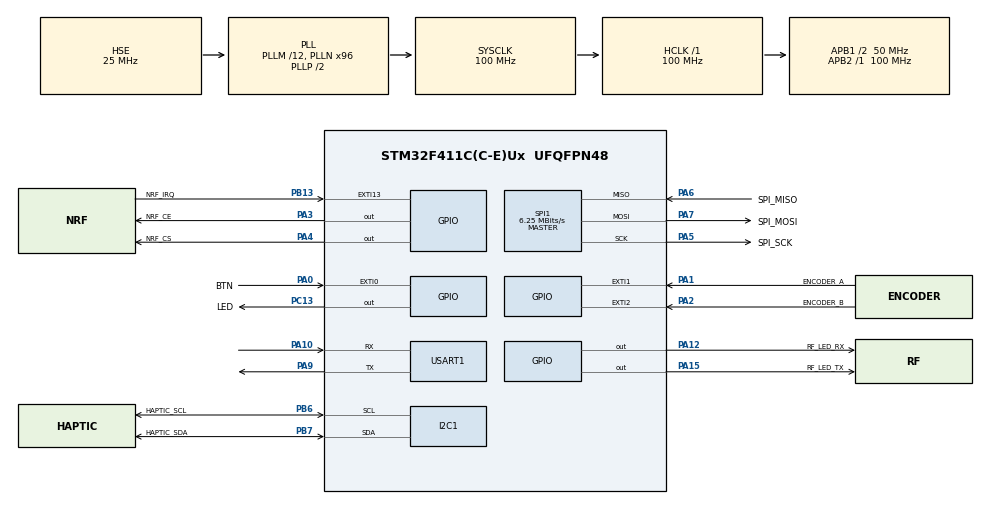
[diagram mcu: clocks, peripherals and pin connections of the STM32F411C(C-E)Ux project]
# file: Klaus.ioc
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Mcu.Family=STM32F4
Mcu.Name=STM32F411C(C-E)Ux
Mcu.Package=UFQFPN48
NVIC.EXTI0_IRQn=true\:0\:0\:false\:false\:true\:true\:true\:true
NVIC.EXTI15_10_IRQn=true\:0\:0\:false\:false\:true\:true\:true\:true
NVIC.EXTI1_IRQn=true\:0\:0\:false\:false\:true\:true\:true\:true
NVIC.EXTI2_IRQn=true\:0\:0\:false\:false\:true\:true\:true\:true
NVIC.PriorityGroup=NVIC_PRIORITYGROUP_4
PA0-WKUP.GPIO_Label=BTN
PA0-WKUP.GPIO_PuPd=GPIO_PULLUP
PA0-WKUP.Signal=GPXTI0
PA1.GPIO_Label=ENCODER_A
PA1.GPIO_PuPd=GPIO_PULLUP
PA1.Signal=GPXTI1
PA10.Mode=Asynchronous
PA10.Signal=USART1_RX
PA12.GPIO_Label=RF_LED_RX
PA12.Signal=GPIO_Output
PA15.GPIO_Label=RF_LED_TX
PA15.Signal=GPIO_Output
PA2.GPIO_Label=ENCODER_B
PA2.GPIO_PuPd=GPIO_PULLUP
PA2.Signal=GPXTI2
PA3.GPIO_Label=NRF_CE
PA3.Signal=GPIO_Output
PA4.GPIO_Label=NRF_CS
PA4.GPIO_ModeDefaultOutputPP=GPIO_MODE_OUTPUT_PP
PA4.GPIO_PuPd=GPIO_NOPULL
PA4.Signal=GPIO_Output
PA5.GPIO_Label=SPI_SCK
PA5.Mode=Full_Duplex_Master
PA5.Signal=SPI1_SCK
PA6.GPIO_Label=SPI_MISO
PA6.Mode=Full_Duplex_Master
PA6.Signal=SPI1_MISO
PA7.GPIO_Label=SPI_MOSI
PA7.Mode=Full_Duplex_Master
PA7.Signal=SPI1_MOSI
PA9.Mode=Asynchronous
PA9.Signal=USART1_TX
PB13.GPIO_Label=NRF_IRQ
PB13.GPIO_ModeDefaultEXTI=GPIO_MODE_IT_FALLING
PB13.GPIO_PuPd=GPIO_NOPULL
PB13.Signal=GPXTI13
PB6.GPIO_Label=HAPTIC_SCL
PB6.Mode=I2C
PB6.Signal=I2C1_SCL
PB7.GPIO_Label=HAPTIC_SDA
PB7.Mode=I2C
PB7.Signal=I2C1_SDA
PC13-ANTI_TAMP.GPIO_Label=LED
PC13-ANTI_TAMP.GPIO_ModeDefaultOutputPP=GPIO_MODE_OUTPUT_OD
PC13-ANTI_TAMP.GPIO_PuPd=GPIO_PULLUP
PC13-ANTI_TAMP.Signal=GPIO_Output
PH0\ -\ OSC_IN.Mode=HSE-External-Oscillator
PH0\ -\ OSC_IN.Signal=RCC_OSC_IN
PH1\ -\ OSC_OUT.Mode=HSE-External-Oscillator
PH1\ -\ OSC_OUT.Signal=RCC_OSC_OUT
ProjectManager.HeapSize=0x200
ProjectManager.StackSize=0x400
ProjectManager.TargetToolchain=STM32CubeIDE
RCC.48MHZClocksFreq_Value=50000000
RCC.AHBFreq_Value=100000000
RCC.APB1CLKDivider=RCC_HCLK_DIV2
RCC.APB1Freq_Value=50000000
RCC.APB1TimFreq_Value=100000000
RCC.APB2Freq_Value=100000000
RCC.APB2TimFreq_Value=100000000
RCC.CortexFreq_Value=100000000
RCC.HCLKFreq_Value=100000000
RCC.HSE_VALUE=25000000
RCC.HSI_VALUE=16000000
RCC.LSE_VALUE=32768
RCC.PLLM=12
RCC.PLLN=96
RCC.PLLSourceVirtual=RCC_PLLSOURCE_HSE
RCC.SYSCLKFreq_VALUE=100000000
RCC.SYSCLKSource=RCC_SYSCLKSOURCE_PLLCLK
RCC.VCOOutputFreq_Value=200000000
SPI1.BaudRatePrescaler=SPI_BAUDRATEPRESCALER_16
SPI1.CalculateBaudRate=6.25 MBits/s
SPI1.Direction=SPI_DIRECTION_2LINES
SPI1.Mode=SPI_MODE_MASTER
SPI1.VirtualType=VM_MASTER
TIM3.Prescaler=100 - 1
TIM5.Prescaler=10000 - 1
USART1.VirtualMode=VM_ASYNC
VP_TIM3_VS_ClockSourceINT.Mode=Internal
VP_TIM5_VS_ClockSourceINT.Mode=Internal
board=custom

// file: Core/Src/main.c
/* USER CODE BEGIN Header */
/**
  ******************************************************************************
  * @file           : main.c
  * @brief          : Main program body
  ******************************************************************************
  * @attention
  *
  * Copyright (c) 2026 STMicroelectronics.
  * All rights reserved.
  *
  * This software is licensed under terms that can be found in the LICENSE file
  * in the root directory of this software component.
  * If no LICENSE file comes with this software, it is provided AS-IS.
  *
  ******************************************************************************
  */
/* USER CODE END Header */
#include "main.h"

/* USER CODE BEGIN Includes */
#include "drv2605l.h"
#include "nrf24l01.h"
#include "metronome.h"

/* USER CODE END Includes */

/* USER CODE BEGIN PD */

#define RF_CHANNEL 92
#define DRV2605L_WAVEFORM_USE 4

/* USER CODE END PD */

I2C_HandleTypeDef hi2c1;

SPI_HandleTypeDef hspi1;

TIM_HandleTypeDef htim3;
TIM_HandleTypeDef htim5;

UART_HandleTypeDef huart1;

void SystemClock_Config(void);
static void MX_GPIO_Init(void);
static void MX_I2C1_Init(void);
static void MX_USART1_UART_Init(void);
static void MX_SPI1_Init(void);
static void MX_TIM3_Init(void);
static void MX_TIM5_Init(void);

/* USER CODE BEGIN 0 */

// Redirect printf through UART
int _write(int fd, char* ptr, int len) {
	HAL_StatusTypeDef hstatus;

	if (fd == 1 || fd == 2) {
	  hstatus = HAL_UART_Transmit(&huart1, (uint8_t *) ptr, len, HAL_MAX_DELAY);
	  if (hstatus == HAL_OK)
		return len;
	  else
		return -1;
	}
	return -1;
}

uint8_t encoder_last_state = 0;
uint8_t encoder_state = 0;
volatile uint8_t encoder_change = 2;

// Arrays to differentiate between "noise" and a real, encoder direction
uint8_t encoder_clockwise_dict[4] = {
		2, 0, 3, 1
};
uint8_t encoder_counterclockwise_dict[4] = {
		1, 3, 0, 2
};

volatile uint8_t nrf_irq_pending = 0;
volatile uint8_t btn_pressed = 0;

void HAL_GPIO_EXTI_Callback(uint16_t GPIO_Pin) {
	if (GPIO_Pin == ENCODER_A_Pin || GPIO_Pin == ENCODER_B_Pin) {
		encoder_change = 1;
	}
	else if (GPIO_Pin == NRF_IRQ_Pin) {
		nrf_irq_pending = 1;
	}
	else if (GPIO_Pin == BTN_Pin) {
		btn_pressed = 1;
	}
}

// 6-byte array used for transmitting RF synchronization packets
uint8_t rf_buff[6] = {
		// 1 = BPM, MSB
		// 2 = BPM, LSB
		// 3 = Master timestamp, MSB
		// 6 = Master timestamp, LSB
};

// RF CALLBACKS
uint8_t packet_received = 0;
void rx_callback(uint8_t *data, uint16_t length) {
	if (length == (sizeof(rf_buff) / sizeof(rf_buff[0]))) {
		for (int i = 0; i < length; i ++) {
			rf_buff[i] = data[i];
		}
		packet_received = 1;
	}
	else {
		MAIN_DBG("Received data of unexpected length.\r\n");
		Error_Handler();
	}
}

uint8_t packet_sent = 0;
void tx_callback() {
	packet_sent = 1;
}

// Handles to interact with drivers / custom libraries
drv2605l_handle_t haptic_driver;
nrf24l01_handle_t rf_handle;
metronome_t metronome;

// METRONOME CALLBACK
void pulse_callback(uint16_t tempo, uint32_t timestamp) {
	if (rf_handle.mode != NRF24L01_RX) {
		HAL_GPIO_TogglePin(LED_GPIO_Port, LED_Pin);
	}

	drv2605l_play(&haptic_driver, DRV2605L_WAVEFORM_USE);

	if (rf_handle.mode == NRF24L01_TX) {
		rf_buff[0] = tempo >> 8;
		rf_buff[1] = tempo & 0xFF;
		rf_buff[2] = timestamp >> 24;
		rf_buff[3]= (timestamp >> 16) & 0xFF;
		rf_buff[4]= (timestamp >> 8) & 0xFF;
		rf_buff[5]= timestamp & 0xFF;

		nrf24l01_result_t nrf24l01_result = nrf24l01_transmit(&rf_handle, rf_buff, 6);
		if (nrf24l01_result != NRF24L01_OK) {
			MAIN_DBG("Error when transmitting\r\n");
		}
	}
}

/* USER CODE END 0 */

int main(void)
{

  /* MCU Configuration--------------------------------------------------------*/

  /* Reset of all peripherals, Initializes the Flash interface and the Systick. */
  HAL_Init();

  /* Configure the system clock */
  SystemClock_Config();

  /* Initialize all configured peripherals */
  MX_GPIO_Init();
  MX_I2C1_Init();
  MX_USART1_UART_Init();
  MX_SPI1_Init();
  MX_TIM3_Init();
  MX_TIM5_Init();

  /* USER CODE BEGIN 2 */

  MAIN_DBG("\r\nWorking!\r\n");

  // -------------- DRV2605L setup -------------- //

  drv2605l_init(&haptic_driver, &hi2c1);

  // -------------- NRF24L01+ setup -------------- //

  micro_delay_handle_t micro_timer;
  HAL_TIM_Base_Start(&htim3);
  micro_delay_init(&micro_timer, &htim3);
  uint8_t channel = RF_CHANNEL;
  nrf24l01_datarate_t data_rate = NRF24L01_DR_250KBPS;
  nrf24l01_power_t power = NRF24L01_PWR_0DBM;
  uint8_t pipe_address[5] = {0x55,0x4E,0x55,0x4E,0x55,};
  nrf24l01_result_t nrf24l01_result;
  nrf24l01_result = nrf24l01_init(&rf_handle, &hspi1, &micro_timer, NRF_CS_GPIO_Port, NRF_CS_Pin, NRF_CE_GPIO_Port, NRF_CE_Pin, channel, data_rate, power, pipe_address);
  if (nrf24l01_result != NRF24L01_OK) {
	  MAIN_DBG("Error when initializing nrf24l01\r\n");
	  Error_Handler();
  }
  else {
	  MAIN_DBG("Initialized RF right!\r\n");
  }

  rf_handle.rx_callback = rx_callback;
  rf_handle.tx_callback = tx_callback;

  // -------------- Metronome setup -------------- //

  HAL_TIM_Base_Start_IT(&htim5);
  metronome_init(&metronome, &htim5);
  metronome.pulse_callback = pulse_callback;

  /* USER CODE END 2 */

  /* Infinite loop */
  /* USER CODE BEGIN WHILE */

  while (1)
  {
	  //---------------------------- ENCODER CODE ------------------------------//
	  if (encoder_change == 2) { // First time initializing encoder variables
		  encoder_change = 0;
		  encoder_state = (HAL_GPIO_ReadPin(ENCODER_A_GPIO_Port, ENCODER_A_Pin) << 1) | HAL_GPIO_ReadPin(ENCODER_B_GPIO_Port, ENCODER_B_Pin);
		  encoder_last_state = encoder_state;
	  }

	  if (encoder_change) {
		  if (rf_handle.mode != NRF24L01_RX) { // Ensure not in RX mode
			  encoder_state = (HAL_GPIO_ReadPin(ENCODER_A_GPIO_Port, ENCODER_A_Pin) << 1) | HAL_GPIO_ReadPin(ENCODER_B_GPIO_Port, ENCODER_B_Pin);
			  metronome_direction_t direction;
			  if (encoder_clockwise_dict[encoder_last_state] == encoder_state) {
				  // Clockwise
				  direction = METRONOME_FORWARD;
			  }
			  else if (encoder_counterclockwise_dict[encoder_last_state] == encoder_state) {
				  // Counterclockwise
				  direction = METRONOME_BACKWARD;
			  }
			  else {
				  // Noise
				  direction = METRONOME_NONE;
			  }

			  if (encoder_state == 0) { // Encoder has detents. Check for completed detent
				  metronome_change_tempo(&metronome, direction);
			  }

			  encoder_last_state = encoder_state;
		  }
		  encoder_change = 0;
	  }

	  //---------------------------- nRF24L01+ CODE ------------------------------//

	  if (nrf_irq_pending) {
		  nrf_irq_pending = 0;
		  nrf24l01_result = nrf24l01_handle_irqs(&rf_handle);
		  if (nrf24l01_result != NRF24L01_OK) {
			  Error_Handler();
		  }
	  }

	  if (btn_pressed) {
		  // Reset the offset and re-initialize timestamps for smoother mode change
		  metronome_reset_rf(&metronome);
		  switch (rf_handle.mode) {
		  case NRF24L01_RX: // Entering standby mode
			  nrf24l01_result = nrf24l01_enter_standby(&rf_handle);
			  if (nrf24l01_result != NRF24L01_OK) {
				  MAIN_DBG("Error when entering off\r\n");
			  }
			  HAL_GPIO_WritePin(RF_LED_TX_GPIO_Port, RF_LED_TX_Pin, GPIO_PIN_RESET);
			  HAL_GPIO_WritePin(RF_LED_RX_GPIO_Port, RF_LED_RX_Pin, GPIO_PIN_RESET);
			  break;
		  case NRF24L01_Standby: // Entering TX mode
			  nrf24l01_result = nrf24l01_enter_tx(&rf_handle);
			  if (nrf24l01_result != NRF24L01_OK) {
				  MAIN_DBG("Error when entering TX\r\n");
			  }
			  HAL_GPIO_WritePin(RF_LED_TX_GPIO_Port, RF_LED_TX_Pin, GPIO_PIN_SET);
			  HAL_GPIO_WritePin(RF_LED_RX_GPIO_Port, RF_LED_RX_Pin, GPIO_PIN_RESET);
			  break;
		  case NRF24L01_TX: // Entering RX mode
			  nrf24l01_result = nrf24l01_enter_rx(&rf_handle);
			  if (nrf24l01_result != NRF24L01_OK) {
				  MAIN_DBG("Error when entering RX\r\n");
			  }
			  HAL_GPIO_WritePin(RF_LED_RX_GPIO_Port, RF_LED_RX_Pin, GPIO_PIN_SET);
			  HAL_GPIO_WritePin(RF_LED_TX_GPIO_Port, RF_LED_TX_Pin, GPIO_PIN_RESET);
			  break;
		  default:
			  MAIN_DBG("Invalid button mode\r\n");
			  Error_Handler();
		  }

		  // Debounce to avoid button press registering as multiple mode changes
		  HAL_Delay(10);
		  btn_pressed = 0;
	  }

	  //---------------------------- METRONOME CODE ------------------------------//

	  metronome_update(&metronome);

	  if (packet_received) {
		  packet_received = 0;
		  HAL_GPIO_TogglePin(LED_GPIO_Port, LED_Pin);

		  uint16_t tempo = rf_buff[0] << 8 | rf_buff[1];
		  uint32_t master_timestamp = rf_buff[2] << 24 | rf_buff[3] << 16 | rf_buff[4] << 8 | rf_buff[5];

		  metronome_process_rf(&metronome, tempo, master_timestamp);
	  }

	  if (packet_sent) {
		  MAIN_DBG("Successfully sent data\r\n");
		  packet_sent = 0;
	  }

    /* USER CODE END WHILE */

  }
}

void SystemClock_Config(void)
{
  RCC_OscInitTypeDef RCC_OscInitStruct = {0};
  RCC_ClkInitTypeDef RCC_ClkInitStruct = {0};

  /** Configure the main internal regulator output voltage
  */
  __HAL_RCC_PWR_CLK_ENABLE();
  __HAL_PWR_VOLTAGESCALING_CONFIG(PWR_REGULATOR_VOLTAGE_SCALE1);

  /** Initializes the RCC Oscillators according to the specified parameters
  * in the RCC_OscInitTypeDef structure.
  */
  RCC_OscInitStruct.OscillatorType = RCC_OSCILLATORTYPE_HSE;
  RCC_OscInitStruct.HSEState = RCC_HSE_ON;
  RCC_OscInitStruct.PLL.PLLState = RCC_PLL_ON;
  RCC_OscInitStruct.PLL.PLLSource = RCC_PLLSOURCE_HSE;
  RCC_OscInitStruct.PLL.PLLM = 12;
  RCC_OscInitStruct.PLL.PLLN = 96;
  RCC_OscInitStruct.PLL.PLLP = RCC_PLLP_DIV2;
  RCC_OscInitStruct.PLL.PLLQ = 4;
  if (HAL_RCC_OscConfig(&RCC_OscInitStruct) != HAL_OK)
  {
    Error_Handler();
  }

  /** Initializes the CPU, AHB and APB buses clocks
  */
  RCC_ClkInitStruct.ClockType = RCC_CLOCKTYPE_HCLK|RCC_CLOCKTYPE_SYSCLK
                              |RCC_CLOCKTYPE_PCLK1|RCC_CLOCKTYPE_PCLK2;
  RCC_ClkInitStruct.SYSCLKSource = RCC_SYSCLKSOURCE_PLLCLK;
  RCC_ClkInitStruct.AHBCLKDivider = RCC_SYSCLK_DIV1;
  RCC_ClkInitStruct.APB1CLKDivider = RCC_HCLK_DIV2;
  RCC_ClkInitStruct.APB2CLKDivider = RCC_HCLK_DIV1;

  if (HAL_RCC_ClockConfig(&RCC_ClkInitStruct, FLASH_LATENCY_3) != HAL_OK)
  {
    Error_Handler();
  }
}

static void MX_I2C1_Init(void)
{

  hi2c1.Instance = I2C1;
  hi2c1.Init.ClockSpeed = 100000;
  hi2c1.Init.DutyCycle = I2C_DUTYCYCLE_2;
  hi2c1.Init.OwnAddress1 = 0;
  hi2c1.Init.AddressingMode = I2C_ADDRESSINGMODE_7BIT;
  hi2c1.Init.DualAddressMode = I2C_DUALADDRESS_DISABLE;
  hi2c1.Init.OwnAddress2 = 0;
  hi2c1.Init.GeneralCallMode = I2C_GENERALCALL_DISABLE;
  hi2c1.Init.NoStretchMode = I2C_NOSTRETCH_DISABLE;
  if (HAL_I2C_Init(&hi2c1) != HAL_OK)
  {
    Error_Handler();
  }

}

static void MX_SPI1_Init(void)
{

  /* SPI1 parameter configuration*/
  hspi1.Instance = SPI1;
  hspi1.Init.Mode = SPI_MODE_MASTER;
  hspi1.Init.Direction = SPI_DIRECTION_2LINES;
  hspi1.Init.DataSize = SPI_DATASIZE_8BIT;
  hspi1.Init.CLKPolarity = SPI_POLARITY_LOW;
  hspi1.Init.CLKPhase = SPI_PHASE_1EDGE;
  hspi1.Init.NSS = SPI_NSS_SOFT;
  hspi1.Init.BaudRatePrescaler = SPI_BAUDRATEPRESCALER_16;
  hspi1.Init.FirstBit = SPI_FIRSTBIT_MSB;
  hspi1.Init.TIMode = SPI_TIMODE_DISABLE;
  hspi1.Init.CRCCalculation = SPI_CRCCALCULATION_DISABLE;
  hspi1.Init.CRCPolynomial = 10;
  if (HAL_SPI_Init(&hspi1) != HAL_OK)
  {
    Error_Handler();
  }

}

static void MX_TIM3_Init(void)
{

  TIM_ClockConfigTypeDef sClockSourceConfig = {0};
  TIM_MasterConfigTypeDef sMasterConfig = {0};

  htim3.Instance = TIM3;
  htim3.Init.Prescaler = 100 - 1;
  htim3.Init.CounterMode = TIM_COUNTERMODE_UP;
  htim3.Init.Period = 65535;
  htim3.Init.ClockDivision = TIM_CLOCKDIVISION_DIV1;
  htim3.Init.AutoReloadPreload = TIM_AUTORELOAD_PRELOAD_DISABLE;
  if (HAL_TIM_Base_Init(&htim3) != HAL_OK)
  {
    Error_Handler();
  }
  sClockSourceConfig.ClockSource = TIM_CLOCKSOURCE_INTERNAL;
  if (HAL_TIM_ConfigClockSource(&htim3, &sClockSourceConfig) != HAL_OK)
  {
    Error_Handler();
  }
  sMasterConfig.MasterOutputTrigger = TIM_TRGO_RESET;
  sMasterConfig.MasterSlaveMode = TIM_MASTERSLAVEMODE_DISABLE;
  if (HAL_TIMEx_MasterConfigSynchronization(&htim3, &sMasterConfig) != HAL_OK)
  {
    Error_Handler();
  }

}

static void MX_TIM5_Init(void)
{

  TIM_ClockConfigTypeDef sClockSourceConfig = {0};
  TIM_MasterConfigTypeDef sMasterConfig = {0};

  htim5.Instance = TIM5;
  htim5.Init.Prescaler = 10000 - 1;
  htim5.Init.CounterMode = TIM_COUNTERMODE_UP;
  htim5.Init.Period = 4294967295;
  htim5.Init.ClockDivision = TIM_CLOCKDIVISION_DIV1;
  htim5.Init.AutoReloadPreload = TIM_AUTORELOAD_PRELOAD_DISABLE;
  if (HAL_TIM_Base_Init(&htim5) != HAL_OK)
  {
    Error_Handler();
  }
  sClockSourceConfig.ClockSource = TIM_CLOCKSOURCE_INTERNAL;
  if (HAL_TIM_ConfigClockSource(&htim5, &sClockSourceConfig) != HAL_OK)
  {
    Error_Handler();
  }
  sMasterConfig.MasterOutputTrigger = TIM_TRGO_RESET;
  sMasterConfig.MasterSlaveMode = TIM_MASTERSLAVEMODE_DISABLE;
  if (HAL_TIMEx_MasterConfigSynchronization(&htim5, &sMasterConfig) != HAL_OK)
  {
    Error_Handler();
  }

}

static void MX_USART1_UART_Init(void)
{

  huart1.Instance = USART1;
  huart1.Init.BaudRate = 115200;
  huart1.Init.WordLength = UART_WORDLENGTH_8B;
  huart1.Init.StopBits = UART_STOPBITS_1;
  huart1.Init.Parity = UART_PARITY_NONE;
  huart1.Init.Mode = UART_MODE_TX_RX;
  huart1.Init.HwFlowCtl = UART_HWCONTROL_NONE;
  huart1.Init.OverSampling = UART_OVERSAMPLING_16;
  if (HAL_UART_Init(&huart1) != HAL_OK)
  {
    Error_Handler();
  }

}

static void MX_GPIO_Init(void)
{
  GPIO_InitTypeDef GPIO_InitStruct = {0};

  /* GPIO Ports Clock Enable */
  __HAL_RCC_GPIOC_CLK_ENABLE();
  __HAL_RCC_GPIOH_CLK_ENABLE();
  __HAL_RCC_GPIOA_CLK_ENABLE();
  __HAL_RCC_GPIOB_CLK_ENABLE();

  /*Configure GPIO pin Output Level */
  HAL_GPIO_WritePin(LED_GPIO_Port, LED_Pin, GPIO_PIN_RESET);

  /*Configure GPIO pin Output Level */
  HAL_GPIO_WritePin(GPIOA, NRF_CE_Pin|NRF_CS_Pin|RF_LED_RX_Pin|RF_LED_TX_Pin, GPIO_PIN_RESET);

  /*Configure GPIO pin : LED_Pin */
  GPIO_InitStruct.Pin = LED_Pin;
  GPIO_InitStruct.Mode = GPIO_MODE_OUTPUT_OD;
  GPIO_InitStruct.Pull = GPIO_PULLUP;
  GPIO_InitStruct.Speed = GPIO_SPEED_FREQ_LOW;
  HAL_GPIO_Init(LED_GPIO_Port, &GPIO_InitStruct);

  /*Configure GPIO pins : BTN_Pin ENCODER_A_Pin ENCODER_B_Pin */
  GPIO_InitStruct.Pin = BTN_Pin|ENCODER_A_Pin|ENCODER_B_Pin;
  GPIO_InitStruct.Mode = GPIO_MODE_IT_RISING;
  GPIO_InitStruct.Pull = GPIO_PULLUP;
  HAL_GPIO_Init(GPIOA, &GPIO_InitStruct);

  /*Configure GPIO pins : NRF_CE_Pin NRF_CS_Pin RF_LED_RX_Pin RF_LED_TX_Pin */
  GPIO_InitStruct.Pin = NRF_CE_Pin|NRF_CS_Pin|RF_LED_RX_Pin|RF_LED_TX_Pin;
  GPIO_InitStruct.Mode = GPIO_MODE_OUTPUT_PP;
  GPIO_InitStruct.Pull = GPIO_NOPULL;
  GPIO_InitStruct.Speed = GPIO_SPEED_FREQ_LOW;
  HAL_GPIO_Init(GPIOA, &GPIO_InitStruct);

  /*Configure GPIO pin : NRF_IRQ_Pin */
  GPIO_InitStruct.Pin = NRF_IRQ_Pin;
  GPIO_InitStruct.Mode = GPIO_MODE_IT_FALLING;
  GPIO_InitStruct.Pull = GPIO_NOPULL;
  HAL_GPIO_Init(NRF_IRQ_GPIO_Port, &GPIO_InitStruct);

  /* EXTI interrupt init*/
  HAL_NVIC_SetPriority(EXTI0_IRQn, 0, 0);
  HAL_NVIC_EnableIRQ(EXTI0_IRQn);

  HAL_NVIC_SetPriority(EXTI1_IRQn, 0, 0);
  HAL_NVIC_EnableIRQ(EXTI1_IRQn);

  HAL_NVIC_SetPriority(EXTI2_IRQn, 0, 0);
  HAL_NVIC_EnableIRQ(EXTI2_IRQn);

  HAL_NVIC_SetPriority(EXTI15_10_IRQn, 0, 0);
  HAL_NVIC_EnableIRQ(EXTI15_10_IRQn);

}

void Error_Handler(void)
{
  __disable_irq();
  while (1)
  {
  }
}
